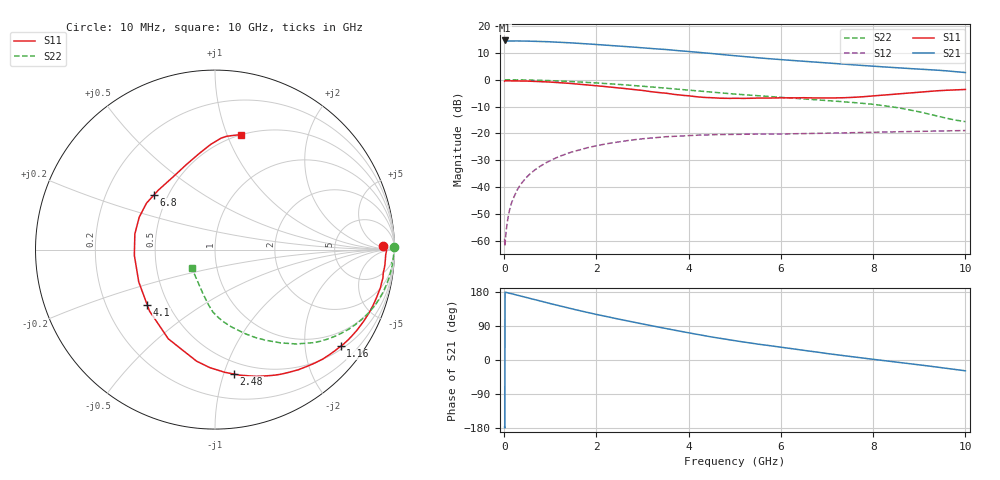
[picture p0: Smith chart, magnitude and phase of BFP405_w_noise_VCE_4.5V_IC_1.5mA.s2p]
! Infineon Technologies  Discrete & RF Semiconductors
! BFP405
! VCE =  4.5 V,  IC =  1.5 mA
! Common Emitter S-Parameters:  Jan 2016
# GHz  S  MA  R  50
!  f  S11  S21  S12  S22
! GHz  MAG  ANG  MAG  ANG  MAG  ANG  MAG  ANG
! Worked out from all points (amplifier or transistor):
!   233 points, 10 MHz to 10 GHz, reference 50 ohm
!   highest |S21| = 14.6 dB at 10 MHz (marker M1)
!   |S21| within 3 dB of that: start of sweep to 3.189 GHz
!   unconditionally stable (mu >= 1): 14.3 MHz to 16.07 MHz; 4.789 GHz to end of sweep
!   at 200 MHz: K = 0.13, MSG = 29.3 dB, |S12| = -44.2 dB
!   at 1.74 GHz: K = 0.26, MSG = 19.5 dB, |S12| = -25.6 dB
!   at 10 GHz: K = 1.78, MAG = 5.7 dB, |S12| = -18.9 dB
!   lowest NFmin = 0.79 dB at 900 MHz
!   S11 on the Smith chart (normalised r, x): 10 MHz: 28, +10; 1.16 GHz: 0.58, -2.83; 2.48 GHz: 0.40, -1.08; 4.1 GHz: 0.38, -0.31; 6.8 GHz: 0.42, +0.32; 10 GHz: 0.50, +1.12
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0.01  0.9373 1.3  5.356 -177.4  0.0011 -39.2  1 0.8
0.015  0.9465 0.5  5.299 -179.2  0.0008 -2.8  0.9956 0.6
0.02  0.9558 -0.3  5.248 178.9  0.0009 43.6  0.9912 0.3
0.06  0.9515 -1.8  5.224 178.1  0.002 66.5  0.9953 -0.7
0.13  0.9507 -4.2  5.239 175.7  0.0042 79.2  0.9948 -2.0
0.34  0.9468 -10.8  5.22 169.5  0.0107 81.3  0.9901 -5.4
0.8  0.9194 -25.8  5.131 155.1  0.0251 75.3  0.9711 -12.7
1.16  0.8835 -37.6  4.985 144.2  0.0361 69.2  0.9472 -18.5
1.4  0.8557 -45.5  4.862 137.1  0.0432 65.1  0.927 -22.1
1.68  0.8173 -54.6  4.702 129.1  0.0509 60.2  0.9007 -26.1
2  0.7716 -65.3  4.507 120.3  0.059 54.7  0.8685 -30.6
2.48  0.7013 -81.4  4.211 108.0  0.0697 46.9  0.816 -36.8
2.92  0.6401 -96.6  3.959 97.1  0.0781 40.1  0.7651 -42.3
3.4  0.57 -113.6  3.681 85.6  0.0851 32.8  0.7063 -47.9
4.1  0.4882 -140.5  3.283 69.5  0.0922 23.5  0.6255 -55.8
4.5  0.4615 -157.0  3.064 60.7  0.0948 18.8  0.5846 -60.2
5.1  0.4489 -178.9  2.737 49.1  0.0964 12.9  0.5317 -66.1
6  0.4593 156.8  2.358 33.7  0.0976 6.6  0.4689 -73.8
6.8  0.4565 138.5  2.105 20.6  0.1001 2.6  0.4202 -80.9
7.6  0.4704 118.5  1.879 7.8  0.1036 -1.3  0.3735 -88.0
8.4  0.5324 101.2  1.688 -4.0  0.1068 -5.5  0.3133 -96.2
10  0.6567 77.4  1.355 -28.5  0.1131 -12.4  0.1657 -141.6
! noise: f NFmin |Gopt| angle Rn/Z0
0.9  0.79  0.64  15  0.47
1.8  1.18  0.51  29  0.42
2.4  1.41  0.42  40  0.39
3  1.48  0.42  55  0.36
4  1.72  0.3  82  0.27
5  2.06  0.26  118  0.21
